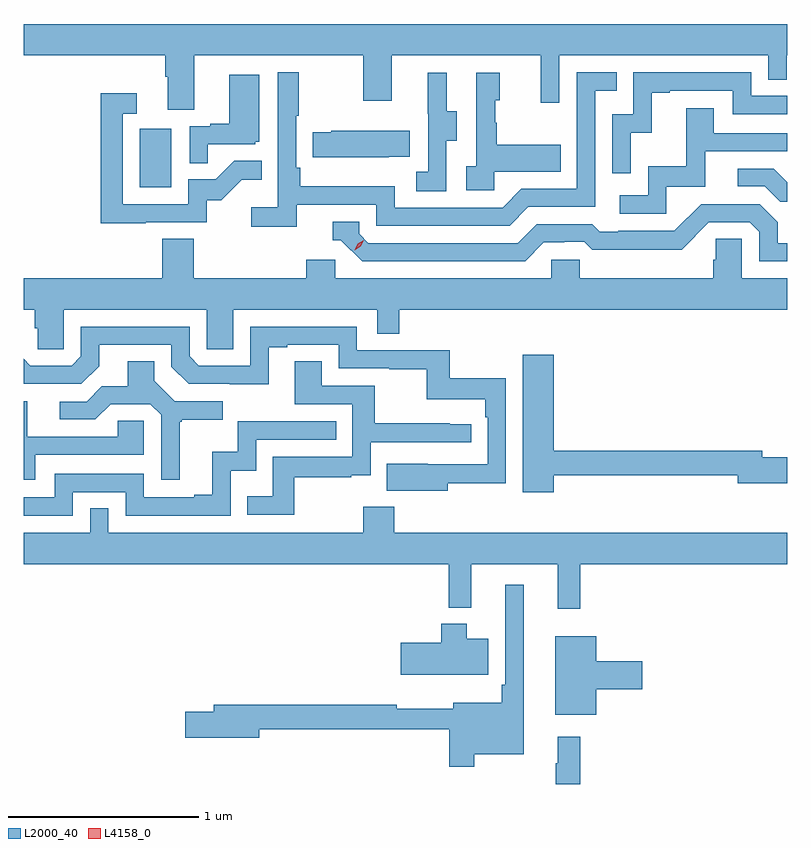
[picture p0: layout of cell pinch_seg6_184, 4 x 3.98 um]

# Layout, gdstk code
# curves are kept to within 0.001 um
import gdstk
lib = gdstk.Library(unit=1e-6, precision=1e-09)
def R(c, l, rs):  # rectangles x0, y0, x1, y1
    for r in rs: c.add(gdstk.rectangle(r[:2], r[2:], *l))
def P(c, l, *ps):  # polygons
    for p in ps: c.add(gdstk.Polygon(p, *l))
L2000_40 = (2000, 40)
L4158_0 = (4158, 0)

pinch_seg6_184 = lib.new_cell('pinch_seg6_184')
R(pinch_seg6_184, L2000_40, [(1056.65,925.332,1056.814,925.639)])
P(pinch_seg6_184, L2000_40, [(1056.937,926.024),(1057.822,926.024),(1057.822,925.785),(1057.969,925.785),(1057.969,926.024),(1058.75,926.024),(1058.75,925.776),(1058.847,925.776),(1058.847,926.024),(1059.942,926.024),(1059.942,925.897),(1060.038,925.897),(1060.038,926.024),(1060.042,926.024),(1060.042,926.188),(1056.042,926.188),(1056.042,926.024),(1056.785,926.024),(1056.785,925.912),(1056.797,925.912),(1056.797,925.738),(1056.937,925.738)],
  [(1057.472,925.242),(1057.89,925.242),(1057.89,925.131),(1058.587,925.131),(1058.686,925.23),(1059.036,925.23),(1059.036,925.839),(1059.149,925.839),(1059.149,925.935),(1058.94,925.935),(1058.94,925.326),(1058.649,925.326),(1058.55,925.227),(1057.986,925.227),(1057.986,925.339),(1057.49,925.339),(1057.49,925.435),(1057.47,925.435),(1057.47,925.708),(1057.483,925.708),(1057.483,925.936),(1057.374,925.936),(1057.374,925.228),(1057.233,925.228),(1057.233,925.126),(1057.472,925.126)],
  [(1059.222,925.619),(1059.332,925.619),(1059.332,925.827),(1059.427,925.827),(1059.427,925.839),(1059.756,925.839),(1059.756,925.716),(1060.042,925.716),(1060.042,925.812),(1059.852,925.812),(1059.852,925.935),(1059.234,925.935),(1059.234,925.716),(1059.126,925.716),(1059.126,925.407),(1059.222,925.407)],
  [(1058.508,925.415),(1058.855,925.415),(1058.855,925.555),(1058.521,925.555),(1058.521,925.67),(1058.511,925.67),(1058.511,925.788),(1058.536,925.788),(1058.536,925.933),(1058.412,925.933),(1058.412,925.442),(1058.361,925.442),(1058.361,925.317),(1058.508,925.317)],
  [(1058.256,925.576),(1058.311,925.576),(1058.311,925.731),(1058.257,925.731),(1058.257,925.933),(1058.159,925.933),(1058.159,925.719),(1058.16,925.719),(1058.16,925.415),(1058.097,925.415),(1058.097,925.312),(1058.256,925.312)],
  [(1057.007,925.557),(1057.254,925.557),(1057.254,925.572),(1057.276,925.572),(1057.276,925.921),(1057.118,925.921),(1057.118,925.666),(1057.019,925.666),(1057.019,925.653),(1056.912,925.653),(1056.912,925.459),(1057.007,925.459)],
  [(1056.683,925.149),(1057.002,925.149),(1057.002,925.266),(1057.078,925.266),(1057.185,925.373),(1057.289,925.373),(1057.289,925.472),(1057.145,925.472),(1057.047,925.374),(1056.903,925.374),(1056.903,925.245),(1056.561,925.245),(1056.561,925.719),(1056.634,925.719),(1056.634,925.825),(1056.445,925.825),(1056.445,925.144),(1056.683,925.144)],
  [(1059.408,925.335),(1059.613,925.335),(1059.613,925.521),(1060.042,925.521),(1060.042,925.617),(1059.655,925.617),(1059.655,925.747),(1059.511,925.747),(1059.511,925.444),(1059.312,925.444),(1059.312,925.29),(1059.165,925.29),(1059.165,925.194),(1059.408,925.194)],
  [(1057.955,925.493),(1058.063,925.493),(1058.063,925.63),(1057.653,925.63),(1057.653,925.62),(1057.555,925.62),(1057.555,925.49),(1057.955,925.49)],
  [(1060.042,925.359),(1059.97,925.431),(1059.783,925.431),(1059.783,925.338),(1059.924,925.338),(1060.004,925.258),(1060.042,925.258)],
  [(1058.767,925.044),(1058.874,925.044),(1058.874,925.047),(1058.977,925.047),(1059.019,925.005),(1059.252,925.005),(1059.252,925.007),(1059.488,925.007),(1059.63,925.149),(1059.846,925.149),(1059.894,925.101),(1059.894,924.945),(1060.042,924.945),(1060.042,925.041),(1059.991,925.041),(1059.991,925.151),(1059.897,925.245),(1059.591,925.245),(1059.45,925.104),(1059.157,925.104),(1059.157,925.101),(1059.058,925.101),(1059.019,925.14),(1058.73,925.14),(1058.631,925.041),(1057.848,925.041),(1057.8,925.089),(1057.8,925.152),(1057.661,925.152),(1057.661,925.056),(1057.704,925.056),(1057.815,924.945),(1058.668,924.945)],
  [(1056.252,924.692),(1057.002,924.692),(1057.002,924.484),(1057.141,924.484),(1057.141,924.692),(1057.893,924.692),(1057.893,924.565),(1058.009,924.565),(1058.009,924.692),(1060.042,924.692),(1060.042,924.856),(1059.804,924.856),(1059.804,925.064),(1059.667,925.064),(1059.667,924.954),(1059.653,924.954),(1059.653,924.856),(1058.955,924.856),(1058.955,924.954),(1058.805,924.954),(1058.805,924.856),(1057.674,924.856),(1057.674,924.954),(1057.523,924.954),(1057.523,924.856),(1056.932,924.856),(1056.932,925.064),(1056.767,925.064),(1056.767,924.856),(1056.042,924.856),(1056.042,924.692),(1056.101,924.692),(1056.101,924.594),(1056.115,924.594),(1056.115,924.484),(1056.252,924.484)],
  [(1058.263,923.782),(1058.568,923.782),(1058.568,924.334),(1058.275,924.334),(1058.275,924.48),(1057.788,924.48),(1057.788,924.603),(1057.23,924.603),(1057.23,924.399),(1056.96,924.399),(1056.912,924.447),(1056.912,924.603),(1056.342,924.603),(1056.342,924.447),(1056.294,924.399),(1056.078,924.399),(1056.042,924.435),(1056.042,924.303),(1056.345,924.303),(1056.439,924.397),(1056.439,924.507),(1056.816,924.507),(1056.816,924.393),(1056.906,924.303),(1057.327,924.302),(1057.327,924.495),(1057.423,924.495),(1057.423,924.507),(1057.692,924.507),(1057.692,924.384),(1057.957,924.384),(1057.957,924.379),(1058.154,924.379),(1058.154,924.224),(1058.459,924.224),(1058.459,924.128),(1058.472,924.128),(1058.472,923.883),(1057.945,923.884),(1057.945,923.744),(1058.263,923.744)],
  [(1058.818,923.826),(1059.782,923.826),(1059.782,923.783),(1060.042,923.783),(1060.042,923.918),(1059.91,923.918),(1059.91,923.954),(1058.818,923.954),(1058.818,924.457),(1058.657,924.457),(1058.657,923.736),(1058.818,923.736)],
  [(1056.859,924.105),(1056.871,924.105),(1056.871,924.116),(1057.084,924.116),(1057.084,924.213),(1056.834,924.213),(1056.727,924.32),(1056.727,924.422),(1056.587,924.422),(1056.587,924.29),(1056.452,924.29),(1056.372,924.21),(1056.231,924.21),(1056.231,924.117),(1056.418,924.117),(1056.499,924.198),(1056.705,924.198),(1056.762,924.141),(1056.762,923.802),(1056.859,923.802)],
  [(1057.459,923.814),(1057.757,923.814),(1057.757,923.825),(1057.86,923.825),(1057.86,923.997),(1058.386,923.997),(1058.386,924.093),(1058.273,924.093),(1058.273,924.098),(1057.88,924.098),(1057.88,924.294),(1057.603,924.294),(1057.603,924.422),(1057.463,924.422),(1057.463,924.198),(1057.764,924.198),(1057.764,923.922),(1057.348,923.922),(1057.348,923.716),(1057.213,923.716),(1057.213,923.619),(1057.459,923.619)],
  [(1056.103,923.931),(1056.672,923.931),(1056.672,924.111),(1056.535,924.111),(1056.535,924.027),(1056.061,924.027),(1056.061,924.213),(1056.042,924.213),(1056.042,923.802),(1056.103,923.802)],
  [(1056.3,923.736),(1056.576,923.736),(1056.576,923.613),(1057.128,923.613),(1057.128,923.849),(1057.26,923.849),(1057.26,924.012),(1057.679,924.012),(1057.679,924.108),(1057.164,924.108),(1057.164,923.947),(1057.031,923.947),(1057.031,923.722),(1056.935,923.722),(1056.935,923.709),(1056.672,923.709),(1056.672,923.832),(1056.204,923.832),(1056.204,923.709),(1056.042,923.709),(1056.042,923.613),(1056.3,923.613)],
  [(1058.957,923.36),(1060.042,923.36),(1060.042,923.524),(1057.982,923.524),(1057.982,923.659),(1057.822,923.659),(1057.822,923.524),(1056.486,923.524),(1056.486,923.651),(1056.39,923.651),(1056.39,923.524),(1056.042,923.524),(1056.042,923.36),(1058.269,923.36),(1058.269,923.132),(1058.387,923.132),(1058.387,923.36),(1058.84,923.36),(1058.84,923.127),(1058.957,923.127)],
  [(1058.401,922.364),(1058.662,922.364),(1058.662,923.251),(1058.565,923.251),(1058.565,922.729),(1058.545,922.729),(1058.545,922.633),(1058.291,922.633),(1058.291,922.603),(1057.995,922.603),(1057.995,922.622),(1057.037,922.622),(1057.037,922.586),(1056.888,922.586),(1056.888,922.451),(1057.276,922.451),(1057.276,922.494),(1058.272,922.494),(1058.272,922.299),(1058.401,922.299)],
  [(1058.476,922.969),(1058.362,922.969),(1058.362,923.047),(1058.228,923.047),(1058.228,922.947),(1058.016,922.947),(1058.016,922.781),(1058.476,922.781)],
  [(1059.04,922.703),(1059.283,922.703),(1059.283,922.85),(1059.04,922.85),(1059.04,922.981),(1058.825,922.981),(1058.825,922.571),(1059.04,922.571)],
  [(1058.957,922.456),(1058.84,922.456),(1058.84,922.316),(1058.829,922.316),(1058.829,922.208),(1058.957,922.208)])
P(pinch_seg6_184, L4158_0, [(1057.776,925.003),(1057.776,925.004),(1057.792,925.036),(1057.823,925.056),(1057.823,925.056),(1057.823,925.056),(1057.807,925.023),(1057.776,925.003)])

lib.write_gds('pinch_seg6_184.gds')
